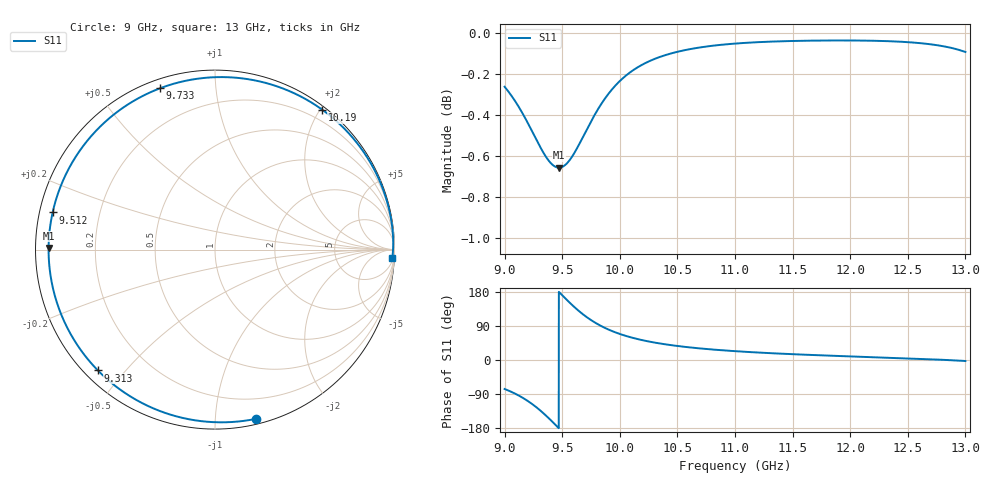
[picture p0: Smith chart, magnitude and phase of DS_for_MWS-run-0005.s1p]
! TOUCHSTONE file generated by CST DESIGN STUDIO
! Date and time: Tue Feb  4 15:41:41 2025
! Project name: C:\Work\MatlabApps\UnitCellOptimizationMatlab\CST\unitcell.cst
! Tree item: Tasks\Sweep1\SPara1\S-Parameters
! Header version: 2024
! Port assignment regex: !\s*Touchstone port\s*([0-9]+)\s*=\s*(CST MWS port|CST DES external port|CST DES block port)\s*(.+)\s* \(\"(.*)\"\)(\s*mode\s*([0-9]+))?.*
! Touchstone port assignment:
! Touchstone port 1 = CST DES external port 1 ("")
# GHz S MA R 50
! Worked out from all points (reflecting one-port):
!   4001 points, 9 GHz to 13 GHz, reference 50 ohm
!   lowest |S11| = -0.7 dB at 9.472 GHz (marker M1), VSWR 26.48, Z = 1.89 + j0.242 ohm
!   phase of S11 starts at -77 deg and turns -286 deg over the sweep
!   S11 on the Smith chart (normalised r, x): 9 GHz: 0.04, -1.27; 9.313 GHz: 0.04, -0.42; 9.512 GHz: 0.04, +0.11; 9.733 GHz: 0.04, +0.71; 10.19 GHz: 0.05, +2.03; 13 GHz: 10, -41
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9  0.9701 -76.5
9.08  0.9634 -87.1
9.179  0.9532 -103.8
9.248  0.9451 -118.2
9.313  0.9375 -134.1
9.399  0.9297 -158.3
9.436  0.9278 -169.5
9.472  0.9272 179.4
9.5  0.9276 170.8
9.512  0.928 167.1
9.564  0.9311 151.5
9.625  0.9369 134.5
9.678  0.943 121.1
9.733  0.9495 108.9
9.786  0.9555 98.5
9.845  0.9614 88.6
9.921  0.9679 77.8
10  0.9732 68.7
10.092  0.9781 60.1
10.194  0.9822 52.5
10.334  0.9861 44.3
10.5  0.9893 37.0
10.722  0.992 29.8
11  0.9939 23.3
11.5  0.9953 15.3
12  0.9956 9.5
12.5  0.9947 4.2
13  0.9892 -2.7
